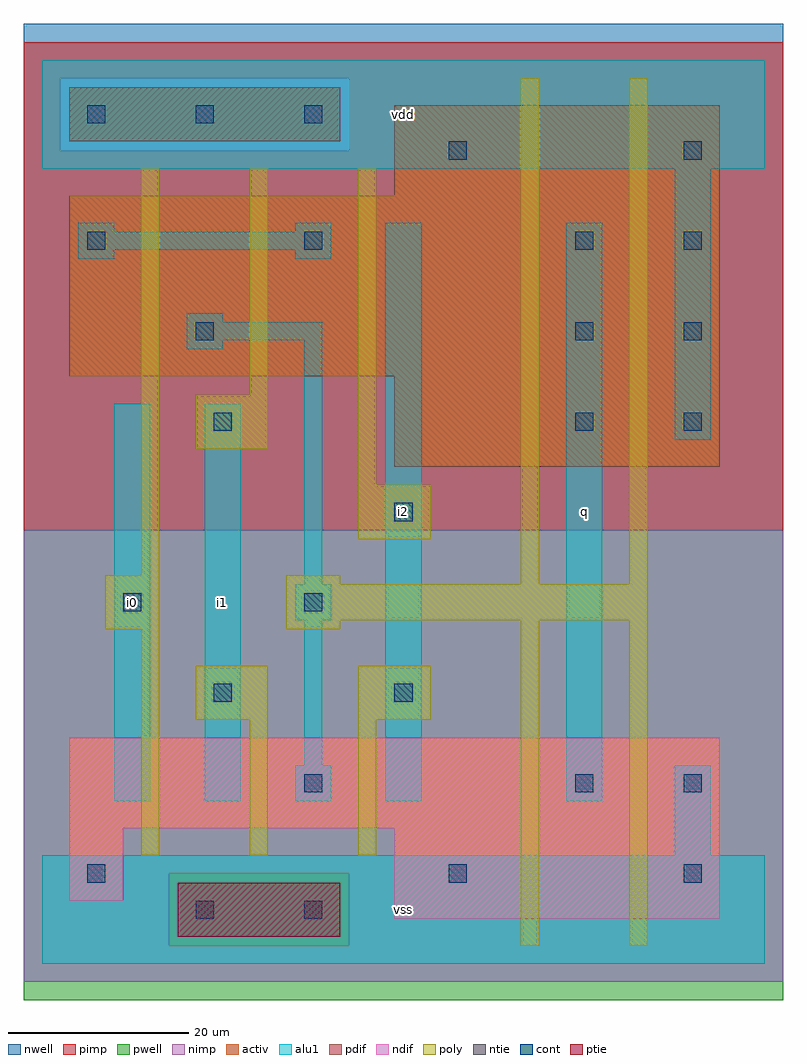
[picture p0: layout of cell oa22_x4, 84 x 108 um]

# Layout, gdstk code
import gdstk
lib = gdstk.Library(unit=1e-6, precision=1e-09)
def R(c, l, rs):  # rectangles x0, y0, x1, y1
    for r in rs: c.add(gdstk.rectangle(r[:2], r[2:], *l))
def A(c, l, x, y, w, h, nx, ny, dx, dy):  # array of equal rectangles
    R(c, l, [(x+i*dx, y+j*dy, x+i*dx+w, y+j*dy+h) for i in range(nx) for j in range(ny)])
ndif = (3, 0)
pdif = (4, 0)
ntie = (5, 0)
ptie = (6, 0)
cont = (25, 0)
pwell = (41, 0)
nwell = (42, 0)
activ = (43, 0)
pimp = (44, 0)
nimp = (45, 0)
poly = (46, 0)
alu1 = (49, 0)

oa22_x4 = lib.new_cell('oa22_x4')
R(oa22_x4, ndif, [(39,5,75,15), (3,7,9,15), (3,15,75,25)])
R(oa22_x4, pdif, [(39,55,75,65), (3,65,75,85), (39,85,75,95)])
R(oa22_x4, ntie, [(3,91,33,97)])
R(oa22_x4, ptie, [(15,3,33,9)])
A(oa22_x4, cont, 59, 59, 2, 2, 1, 3, 0, 10)
A(oa22_x4, cont, 71, 59, 2, 2, 1, 4, 0, 10)
A(oa22_x4, cont, 5, 93, 2, 2, 3, 1, 12, 0)
R(oa22_x4, cont, [(17,5,19,7), (29,5,31,7), (5,9,7,11), (45,9,47,11), (71,9,73,11), (29,19,31,21), (59,19,61,21), (71,19,73,21), (19,29,21,31), (39,29,41,31), (9,39,11,41), (29,39,31,41), (39,49,41,51), (19,59,21,61), (17,69,19,71), (5,79,7,81), (29,79,31,81), (45,89,47,91)])
R(oa22_x4, pwell, [(-2,-4,82,48)])
R(oa22_x4, nwell, [(-2,48,82,104)])
R(oa22_x4, activ, [(15,3,33,9), (39,5,75,15), (3,7,9,15), (3,15,75,25), (39,55,75,65), (3,65,75,85), (39,85,75,95), (3,91,33,97)])
R(oa22_x4, pimp, [(14,2,34,10), (-2,48,82,90), (-2,90,2,98), (34,90,82,98), (-2,98,82,102)])
R(oa22_x4, nimp, [(-2,-2,82,2), (-2,2,14,10), (34,2,82,10), (-2,10,82,48), (2,90,34,98)])
R(oa22_x4, poly, [(53,2,55,38), (65,2,67,38), (11,12,13,37), (23,12,25,27), (35,12,37,27), (17,27,25,33), (35,27,43,33), (7,37,13,43), (27,37,33,38), (27,38,67,42), (27,42,33,43), (53,42,55,98), (65,42,67,98), (11,43,13,88), (35,47,43,53), (35,53,37,88), (17,57,25,63), (23,63,25,88)])
R(oa22_x4, alu1, [(0,0,80,12), (70,12,74,22), (8,18,12,62), (18,18,22,62), (28,18,32,22), (38,18,42,82), (58,18,62,82), (29,22,31,38), (28,38,32,42), (29,42,31,69), (70,58,74,88), (16,68,20,69), (16,69,31,71), (16,71,20,72), (4,78,8,79), (28,78,32,79), (4,79,32,81), (4,81,8,82), (28,81,32,82), (0,88,80,100)])
oa22_x4.add(gdstk.Label('i0', (10,40), layer=49, texttype=0))
oa22_x4.add(gdstk.Label('i1', (20,40), layer=49, texttype=0))
oa22_x4.add(gdstk.Label('vss', (40,6), layer=49, texttype=0))
oa22_x4.add(gdstk.Label('i2', (40,50), layer=49, texttype=0))
oa22_x4.add(gdstk.Label('vdd', (40,94), layer=49, texttype=0))
oa22_x4.add(gdstk.Label('q', (60,50), layer=49, texttype=0))

lib.write_gds('oa22_x4.gds')
